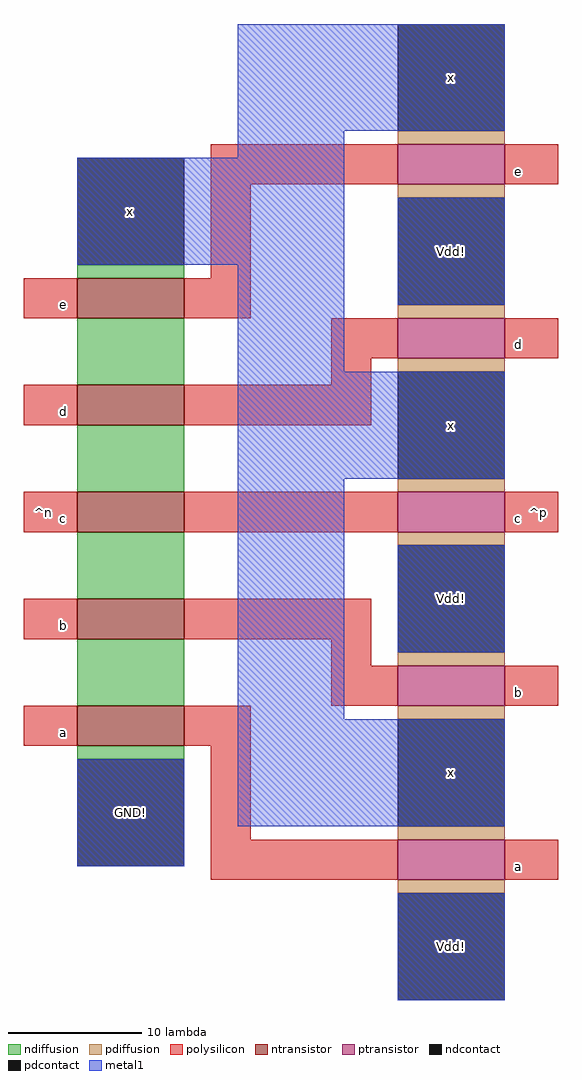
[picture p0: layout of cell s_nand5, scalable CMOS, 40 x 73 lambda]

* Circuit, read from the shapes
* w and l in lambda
.subckt s_nand5 GND! Vdd! a b c d e x
M1 n1 a GND! VSUBS nfet w=8 l=3
M2 n2 b n1 VSUBS nfet w=8 l=3
M3 n3 c n2 VSUBS nfet w=8 l=3
M4 n4 d n3 VSUBS nfet w=8 l=3
M5 x e n4 VSUBS nfet w=8 l=3
M6 x a Vdd! NWELL pfet w=8 l=3
M7 Vdd! b x NWELL pfet w=8 l=3
M8 x c Vdd! NWELL pfet w=8 l=3
M9 Vdd! d x NWELL pfet w=8 l=3
M10 x e Vdd! NWELL pfet w=8 l=3
.ends

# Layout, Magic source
magic
tech scmos
<< ndiffusion >>
rect 3 73 11 74
rect 3 65 11 70
rect 3 57 11 62
rect 3 49 11 54
rect 3 41 11 46
rect 3 37 11 38
<< pdiffusion >>
rect 27 83 35 84
rect 27 79 35 80
rect 27 70 35 71
rect 27 66 35 67
rect 27 57 35 58
rect 27 53 35 54
rect 27 44 35 45
rect 27 40 35 41
rect 27 31 35 32
rect 27 27 35 28
<< ntransistor >>
rect 3 70 11 73
rect 3 62 11 65
rect 3 54 11 57
rect 3 46 11 49
rect 3 38 11 41
<< ptransistor >>
rect 27 80 35 83
rect 27 67 35 70
rect 27 54 35 57
rect 27 41 35 44
rect 27 28 35 31
<< polysilicon >>
rect 13 80 27 83
rect 35 80 39 83
rect 13 73 16 80
rect -1 70 3 73
rect 11 70 16 73
rect 22 67 27 70
rect 35 67 39 70
rect 22 65 25 67
rect -1 62 3 65
rect 11 62 25 65
rect -1 54 3 57
rect 11 54 27 57
rect 35 54 39 57
rect -1 46 3 49
rect 11 46 25 49
rect 22 44 25 46
rect 22 41 27 44
rect 35 41 39 44
rect -1 38 3 41
rect 11 38 16 41
rect 13 31 16 38
rect 13 28 27 31
rect 35 28 39 31
<< ndcontact >>
rect 3 74 11 82
rect 3 29 11 37
<< pdcontact >>
rect 27 84 35 92
rect 27 71 35 79
rect 27 58 35 66
rect 27 45 35 53
rect 27 32 35 40
rect 27 19 35 27
<< metal1 >>
rect 15 84 35 92
rect 15 82 23 84
rect 3 74 23 82
rect 15 66 23 74
rect 27 71 35 79
rect 15 58 35 66
rect 15 40 23 58
rect 27 45 35 53
rect 3 29 11 37
rect 15 32 35 40
rect 27 19 35 27
<< labels >>
rlabel metal1 31 36 31 36 1 x
rlabel metal1 31 49 31 49 5 Vdd!
rlabel metal1 31 23 31 23 1 Vdd!
rlabel polysilicon 36 42 36 42 1 b
rlabel polysilicon 36 29 36 29 1 a
rlabel metal1 31 62 31 62 5 x
rlabel polysilicon 36 55 36 55 1 c
rlabel metal1 31 75 31 75 1 Vdd!
rlabel polysilicon 36 68 36 68 1 d
rlabel metal1 31 88 31 88 1 x
rlabel polysilicon 36 81 36 81 1 e
rlabel metal1 7 33 7 33 1 GND!
rlabel polysilicon 2 39 2 39 3 a
rlabel polysilicon 2 47 2 47 3 b
rlabel polysilicon 2 55 2 55 3 c
rlabel polysilicon 2 63 2 63 3 d
rlabel metal1 7 78 7 78 1 x
rlabel polysilicon 2 71 2 71 3 e
rlabel space -2 29 3 82 7 ^n
rlabel space 35 19 40 92 3 ^p
<< end >>
